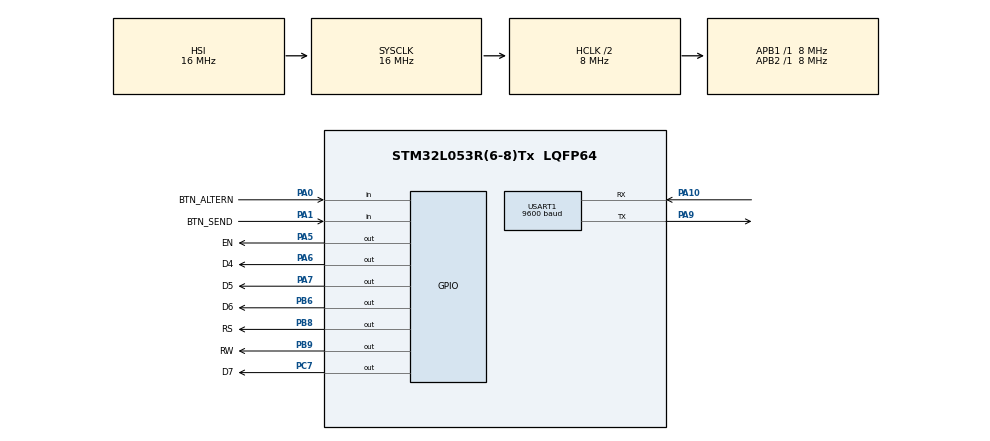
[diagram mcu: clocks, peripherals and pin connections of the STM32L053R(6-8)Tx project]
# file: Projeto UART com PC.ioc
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Mcu.Family=STM32L0
Mcu.Name=STM32L053R(6-8)Tx
Mcu.Package=LQFP64
NVIC.TIM6_DAC_IRQn=true\:0\:0\:false\:false\:true\:true\:true\:true
NVIC.USART1_IRQn=true\:0\:0\:false\:false\:true\:true\:true\:true
PA0.GPIO_Label=BTN_ALTERN
PA0.GPIO_PuPd=GPIO_PULLUP
PA0.Signal=GPIO_Input
PA1.GPIO_Label=BTN_SEND
PA1.GPIO_PuPd=GPIO_PULLUP
PA1.Signal=GPIO_Input
PA10.Mode=Asynchronous
PA10.Signal=USART1_RX
PA5.GPIO_Label=EN
PA5.Signal=GPIO_Output
PA6.GPIO_Label=D4
PA6.Signal=GPIO_Output
PA7.GPIO_Label=D5
PA7.Signal=GPIO_Output
PA9.Mode=Asynchronous
PA9.Signal=USART1_TX
PB6.GPIO_Label=D6
PB6.Signal=GPIO_Output
PB8.GPIO_Label=RS
PB8.Signal=GPIO_Output
PB9.GPIO_Label=RW
PB9.Signal=GPIO_Output
PC7.GPIO_Label=D7
PC7.Signal=GPIO_Output
ProjectManager.HeapSize=0x200
ProjectManager.StackSize=0x400
ProjectManager.TargetToolchain=STM32CubeIDE
RCC.AHBCLKDivider=RCC_SYSCLK_DIV2
RCC.AHBFreq_Value=8000000
RCC.APB1Freq_Value=8000000
RCC.APB1TimFreq_Value=8000000
RCC.APB2Freq_Value=8000000
RCC.APB2TimFreq_Value=8000000
RCC.HCLKFreq_Value=8000000
RCC.HSE_VALUE=8000000
RCC.HSI16_VALUE=16000000
RCC.HSI48_VALUE=48000000
RCC.HSI_VALUE=16000000
RCC.LSE_VALUE=32768
RCC.MSI_VALUE=2097000
RCC.SYSCLKFreq_VALUE=16000000
RCC.SYSCLKSource=RCC_SYSCLKSOURCE_HSI
RCC.VCOOutputFreq_Value=48000000
TIM6.AutoReloadPreload=TIM_AUTORELOAD_PRELOAD_ENABLE
TIM6.Period=13310
TIM6.Prescaler=601-1
USART1.BaudRate=9600
USART1.VirtualMode-Asynchronous=VM_ASYNC
VP_TIM6_VS_ClockSourceINT.Mode=Enable_Timer
board=NUCLEO-L053R8

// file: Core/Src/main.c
/* USER CODE BEGIN Header */
/**
  ******************************************************************************
  * @file           : main.c
  * @brief          : Main program body
  ******************************************************************************
  * @attention
  *
  * Copyright (c) 2025 STMicroelectronics.
  * All rights reserved.
  *
  * This software is licensed under terms that can be found in the LICENSE file
  * in the root directory of this software component.
  * If no LICENSE file comes with this software, it is provided AS-IS.
  *
  ******************************************************************************
  */
/* USER CODE END Header */
#include "main.h"

/* USER CODE BEGIN Includes */
#include <stdio.h>
#include <stdlib.h>
#include <string.h>
/* USER CODE END Includes */

/* USER CODE BEGIN PTD */
typedef struct {
	unsigned B0:1, B1:1, B2:1, B3:1, B4:1, B5:1, B6:1, B7:1;
}BIT;
/* USER CODE END PTD */

/* USER CODE BEGIN PD */
#define INSTRUCTION 0
#define DATA 1
/* USER CODE END PD */

TIM_HandleTypeDef htim6;

UART_HandleTypeDef huart1;

/* USER CODE BEGIN PV */
BIT PORT;
int atualMesage = 0;
uint32_t bouce, brefBouce;
char * messages[8][16] = {{"O CABA INDOIDO "},
						  {"FUNCIONA!!!    "},
						  {"C TA DOOOOID..."},
						  {"DEAM           "},
						  {"ENVIO PARA PC  "},
						  {"PC-chan! >//<  "},
						  {"LED LIGADO     "},
						  {"DESLIGADO      "}};

char messageToSend[] = "Envio teste...";
char stringComp[1];
uint8_t comand[1];

/* USER CODE END PV */

void SystemClock_Config(void);
static void MX_GPIO_Init(void);
static void MX_USART1_UART_Init(void);
static void MX_TIM6_Init(void);
/* USER CODE BEGIN PFP */
void Message(char ** message);
void DataManager(int data, int mode);
void StartLCD(void);
void KeyboardCheck(void);
/* USER CODE END PFP */

int main(void)
{

  /* MCU Configuration--------------------------------------------------------*/

  /* Reset of all peripherals, Initializes the Flash interface and the Systick. */
  HAL_Init();

  /* Configure the system clock */
  SystemClock_Config();

  /* Initialize all configured peripherals */
  MX_GPIO_Init();
  MX_USART1_UART_Init();
  MX_TIM6_Init();
  /* USER CODE BEGIN 2 */
  StartLCD();
  HAL_TIM_Base_Start_IT(&htim6);
  HAL_UART_Init(&huart1);
  /* USER CODE END 2 */

  /* Infinite loop */
  /* USER CODE BEGIN WHILE */
  while (1)	{
	Message(messages[atualMesage]);
	DataManager(0x80, INSTRUCTION);
	KeyboardCheck();

	HAL_UART_Receive_IT(&huart1, comand, sizeof(comand) / sizeof(comand[0]));
    /* USER CODE END WHILE */

  }
}

void SystemClock_Config(void)
{
  RCC_OscInitTypeDef RCC_OscInitStruct = {0};
  RCC_ClkInitTypeDef RCC_ClkInitStruct = {0};
  RCC_PeriphCLKInitTypeDef PeriphClkInit = {0};

  /** Configure the main internal regulator output voltage
  */
  __HAL_PWR_VOLTAGESCALING_CONFIG(PWR_REGULATOR_VOLTAGE_SCALE1);

  /** Initializes the RCC Oscillators according to the specified parameters
  * in the RCC_OscInitTypeDef structure.
  */
  RCC_OscInitStruct.OscillatorType = RCC_OSCILLATORTYPE_HSI;
  RCC_OscInitStruct.HSIState = RCC_HSI_ON;
  RCC_OscInitStruct.HSICalibrationValue = RCC_HSICALIBRATION_DEFAULT;
  RCC_OscInitStruct.PLL.PLLState = RCC_PLL_NONE;
  if (HAL_RCC_OscConfig(&RCC_OscInitStruct) != HAL_OK)
  {
    Error_Handler();
  }

  /** Initializes the CPU, AHB and APB buses clocks
  */
  RCC_ClkInitStruct.ClockType = RCC_CLOCKTYPE_HCLK|RCC_CLOCKTYPE_SYSCLK
                              |RCC_CLOCKTYPE_PCLK1|RCC_CLOCKTYPE_PCLK2;
  RCC_ClkInitStruct.SYSCLKSource = RCC_SYSCLKSOURCE_HSI;
  RCC_ClkInitStruct.AHBCLKDivider = RCC_SYSCLK_DIV2;
  RCC_ClkInitStruct.APB1CLKDivider = RCC_HCLK_DIV1;
  RCC_ClkInitStruct.APB2CLKDivider = RCC_HCLK_DIV1;

  if (HAL_RCC_ClockConfig(&RCC_ClkInitStruct, FLASH_LATENCY_0) != HAL_OK)
  {
    Error_Handler();
  }
  PeriphClkInit.PeriphClockSelection = RCC_PERIPHCLK_USART1;
  PeriphClkInit.Usart1ClockSelection = RCC_USART1CLKSOURCE_PCLK2;
  if (HAL_RCCEx_PeriphCLKConfig(&PeriphClkInit) != HAL_OK)
  {
    Error_Handler();
  }
}

static void MX_TIM6_Init(void)
{

  TIM_MasterConfigTypeDef sMasterConfig = {0};

  htim6.Instance = TIM6;
  htim6.Init.Prescaler = 601-1;
  htim6.Init.CounterMode = TIM_COUNTERMODE_UP;
  htim6.Init.Period = 13310;
  htim6.Init.AutoReloadPreload = TIM_AUTORELOAD_PRELOAD_ENABLE;
  if (HAL_TIM_Base_Init(&htim6) != HAL_OK)
  {
    Error_Handler();
  }
  sMasterConfig.MasterOutputTrigger = TIM_TRGO_RESET;
  sMasterConfig.MasterSlaveMode = TIM_MASTERSLAVEMODE_DISABLE;
  if (HAL_TIMEx_MasterConfigSynchronization(&htim6, &sMasterConfig) != HAL_OK)
  {
    Error_Handler();
  }

}

static void MX_USART1_UART_Init(void)
{

  huart1.Instance = USART1;
  huart1.Init.BaudRate = 9600;
  huart1.Init.WordLength = UART_WORDLENGTH_8B;
  huart1.Init.StopBits = UART_STOPBITS_1;
  huart1.Init.Parity = UART_PARITY_NONE;
  huart1.Init.Mode = UART_MODE_TX_RX;
  huart1.Init.HwFlowCtl = UART_HWCONTROL_NONE;
  huart1.Init.OverSampling = UART_OVERSAMPLING_16;
  huart1.Init.OneBitSampling = UART_ONE_BIT_SAMPLE_DISABLE;
  huart1.AdvancedInit.AdvFeatureInit = UART_ADVFEATURE_NO_INIT;
  if (HAL_UART_Init(&huart1) != HAL_OK)
  {
    Error_Handler();
  }

}

static void MX_GPIO_Init(void)
{
  GPIO_InitTypeDef GPIO_InitStruct = {0};

  /* GPIO Ports Clock Enable */
  __HAL_RCC_GPIOA_CLK_ENABLE();
  __HAL_RCC_GPIOC_CLK_ENABLE();
  __HAL_RCC_GPIOB_CLK_ENABLE();

  /*Configure GPIO pin Output Level */
  HAL_GPIO_WritePin(GPIOA, EN_Pin|D4_Pin|D5_Pin, GPIO_PIN_RESET);

  /*Configure GPIO pin Output Level */
  HAL_GPIO_WritePin(D7_GPIO_Port, D7_Pin, GPIO_PIN_RESET);

  /*Configure GPIO pin Output Level */
  HAL_GPIO_WritePin(GPIOB, D6_Pin|RS_Pin|RW_Pin, GPIO_PIN_RESET);

  /*Configure GPIO pins : BTN_ALTERN_Pin BTN_SEND_Pin */
  GPIO_InitStruct.Pin = BTN_ALTERN_Pin|BTN_SEND_Pin;
  GPIO_InitStruct.Mode = GPIO_MODE_INPUT;
  GPIO_InitStruct.Pull = GPIO_PULLUP;
  HAL_GPIO_Init(GPIOA, &GPIO_InitStruct);

  /*Configure GPIO pins : EN_Pin D4_Pin D5_Pin */
  GPIO_InitStruct.Pin = EN_Pin|D4_Pin|D5_Pin;
  GPIO_InitStruct.Mode = GPIO_MODE_OUTPUT_PP;
  GPIO_InitStruct.Pull = GPIO_NOPULL;
  GPIO_InitStruct.Speed = GPIO_SPEED_FREQ_LOW;
  HAL_GPIO_Init(GPIOA, &GPIO_InitStruct);

  /*Configure GPIO pin : D7_Pin */
  GPIO_InitStruct.Pin = D7_Pin;
  GPIO_InitStruct.Mode = GPIO_MODE_OUTPUT_PP;
  GPIO_InitStruct.Pull = GPIO_NOPULL;
  GPIO_InitStruct.Speed = GPIO_SPEED_FREQ_LOW;
  HAL_GPIO_Init(D7_GPIO_Port, &GPIO_InitStruct);

  /*Configure GPIO pins : D6_Pin RS_Pin RW_Pin */
  GPIO_InitStruct.Pin = D6_Pin|RS_Pin|RW_Pin;
  GPIO_InitStruct.Mode = GPIO_MODE_OUTPUT_PP;
  GPIO_InitStruct.Pull = GPIO_NOPULL;
  GPIO_InitStruct.Speed = GPIO_SPEED_FREQ_LOW;
  HAL_GPIO_Init(GPIOB, &GPIO_InitStruct);

}

/* USER CODE BEGIN 4 */
void StartLCD(void){
	HAL_Delay(20);
	DataManager(0x33, INSTRUCTION);
	DataManager(0x32, INSTRUCTION);

	DataManager(0x28, INSTRUCTION);

	DataManager(0x0C, INSTRUCTION);
	DataManager(0x06, INSTRUCTION);
	DataManager(0x01, INSTRUCTION);
	HAL_Delay(2);
}

void DataManager(int data, int mode){
	PORT.B0 = (data >> 0) & 1;
	PORT.B1 = (data >> 1) & 1;
	PORT.B2 = (data >> 2) & 1;
	PORT.B3 = (data >> 3) & 1;
	PORT.B4 = (data >> 4) & 1;
	PORT.B5 = (data >> 5) & 1;
	PORT.B6 = (data >> 6) & 1;
	PORT.B7 = (data >> 7) & 1;

	HAL_GPIO_WritePin(RS_GPIO_Port, RS_Pin, mode);
	HAL_GPIO_WritePin(RW_GPIO_Port, RW_Pin, GPIO_PIN_RESET);

	HAL_GPIO_WritePin(D4_GPIO_Port, D4_Pin, PORT.B4);
	HAL_GPIO_WritePin(D5_GPIO_Port, D5_Pin, PORT.B5);
	HAL_GPIO_WritePin(D6_GPIO_Port, D6_Pin, PORT.B6);
	HAL_GPIO_WritePin(D7_GPIO_Port, D7_Pin, PORT.B7);

	HAL_Delay(1);
	HAL_GPIO_TogglePin(EN_GPIO_Port, EN_Pin);
	HAL_Delay(1);
	HAL_GPIO_TogglePin(EN_GPIO_Port, EN_Pin);

	HAL_GPIO_WritePin(D4_GPIO_Port, D4_Pin, PORT.B0);
	HAL_GPIO_WritePin(D5_GPIO_Port, D5_Pin, PORT.B1);
	HAL_GPIO_WritePin(D6_GPIO_Port, D6_Pin, PORT.B2);
	HAL_GPIO_WritePin(D7_GPIO_Port, D7_Pin, PORT.B3);

	HAL_Delay(1);
	HAL_GPIO_TogglePin(EN_GPIO_Port, EN_Pin);
	HAL_Delay(1);
	HAL_GPIO_TogglePin(EN_GPIO_Port, EN_Pin);

}

void Message(char ** message){
	for (int i = 0; i < 6; ++i){
		for (int j = 0; message[i][j] != '\0'; ++j){
			DataManager(message[i][j], DATA);
		}
	}
}

void KeyboardCheck(void){
	int btn_altern = HAL_GPIO_ReadPin(BTN_ALTERN_GPIO_Port, BTN_ALTERN_Pin);

	if (!btn_altern){
		bouce = HAL_GetTick();
		if ((bouce - brefBouce) > 20){
			atualMesage++;
			if (atualMesage >= 6) atualMesage = 0;
			strcpy(messageToSend, messages[atualMesage][0]);

			while (!HAL_GPIO_ReadPin(BTN_ALTERN_GPIO_Port, BTN_ALTERN_Pin));
		}
		brefBouce = bouce;
	}
}

void HAL_TIM_PeriodElapsedCallback(TIM_HandleTypeDef *htim){
	HAL_UART_Transmit(&huart1, (uint8_t*) messageToSend, strlen(messageToSend), 100);
}

void HAL_UART_RxCpltCallback(UART_HandleTypeDef *huart) {
	if (huart->Instance == USART1){
		sprintf(stringComp, "%s", (char*) comand);
		if (!strcmp("Y", stringComp)) {
			atualMesage = 6;
		}
		else atualMesage = 7;
	}
}

/* USER CODE END 4 */

void Error_Handler(void)
{
  __disable_irq();
  while (1)
  {
  }
}
